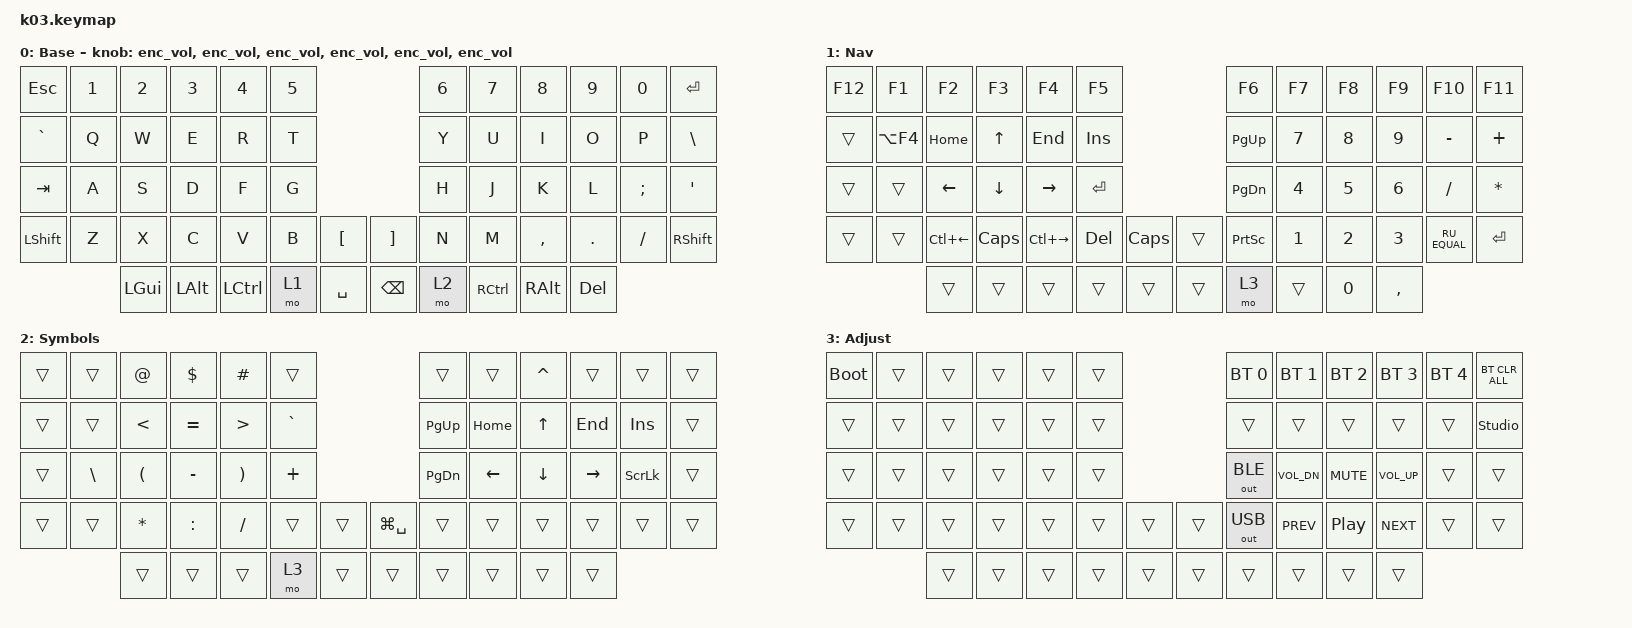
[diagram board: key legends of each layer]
#include "keys_ru.h"
#include <behaviors.dtsi>
#include <dt-bindings/zmk/bt.h>
#include <dt-bindings/zmk/keys.h>
#include <dt-bindings/zmk/outputs.h>

/ {
    behaviors {
        enc_vol: enc_vol {
            compatible = "zmk,behavior-sensor-rotate";
            label = "ENC_VOL";
            #sensor-binding-cells = <0>;
            bindings = <&kp C_VOL_UP>, <&kp C_VOL_DN>;
        };
    };

    keymap {
        compatible = "zmk,keymap";

        base {
            bindings = <
&kp ESC    &kp N1  &kp N2    &kp N3    &kp N4     &kp N5                              &kp N6  &kp N7     &kp N8     &kp N9      &kp N0    &kp RETURN
&kp GRAVE  &kp Q   &kp W     &kp E     &kp R      &kp T                               &kp Y   &kp U      &kp I      &kp O       &kp P     &kp BSLH
&kp TAB    &kp A   &kp S     &kp D     &kp F      &kp G                               &kp H   &kp J      &kp K      &kp L       &kp SEMI  &kp SQT
&kp LSHFT  &kp Z   &kp X     &kp C     &kp V      &kp B   &kp LBKT     &kp RBKT       &kp N   &kp M      &kp COMMA  &kp DOT     &kp FSLH  &kp RSHFT
                   &kp LGUI  &kp LALT  &kp LCTRL  &mo 1   &kp SPACE    &kp BACKSPACE  &mo 2   &kp RCTRL  &kp RALT   &kp DELETE
            >;

            display-name = "Base";
            sensor-bindings =
                <&enc_vol>,
                <&enc_vol>,
                <&enc_vol>,
                <&enc_vol>,
                <&enc_vol>,
                <&enc_vol>;
        };

        nav {
            bindings = <
&kp F12  &kp F1      &kp F2        &kp F3    &kp F4         &kp F5                       &kp F6           &kp F7  &kp F8  &kp F9     &kp F10       &kp F11
&trans   &kp LA(F4)  &kp HOME      &kp UP    &kp END        &kp INS                      &kp PG_UP        &kp N7  &kp N8  &kp N9     &kp MINUS     &kp PLUS
&trans   &trans      &kp LEFT      &kp DOWN  &kp RIGHT      &kp RET                      &kp PG_DN        &kp N4  &kp N5  &kp N6     &kp SLASH     &kp ASTRK
&trans   &trans      &kp LC(LEFT)  &kp CAPS  &kp LC(RIGHT)  &kp DEL  &kp CAPS    &trans  &kp PRINTSCREEN  &kp N1  &kp N2  &kp N3     &kp RU_EQUAL  &kp RETURN
                     &trans        &trans    &trans         &trans   &trans      &trans  &mo 3            &trans  &kp N0  &kp COMMA
            >;

            display-name = "Nav";
        };

        sym {
            bindings = <
&trans  &trans    &kp AT    &kp DLLR   &kp HASH  &trans                              &trans         &trans          &kp CARET       &trans           &trans          &trans
&trans  &trans    &kp LT    &kp EQUAL  &kp GT    &kp GRAVE                           &kp PG_UP      &kp HOME        &kp UP_ARROW    &kp END          &kp INS         &trans
&trans  &kp BSLH  &kp LPAR  &kp MINUS  &kp RPAR  &kp PLUS                            &kp PAGE_DOWN  &kp LEFT_ARROW  &kp DOWN_ARROW  &kp RIGHT_ARROW  &kp SCROLLLOCK  &trans
&trans  &trans    &kp STAR  &kp COLON  &kp FSLH  &trans     &trans    &kp LG(SPACE)  &trans         &trans          &trans          &trans           &trans          &trans
                  &trans    &trans     &trans    &mo 3      &trans    &trans         &trans         &trans          &trans          &trans
            >;

            display-name = "Symbols";
        };

        adj {
            bindings = <
&bootloader  &trans  &trans  &trans  &trans  &trans                    &bt BT_SEL 0  &bt BT_SEL 1  &bt BT_SEL 2      &bt BT_SEL 3  &bt BT_SEL 4  &bt BT_CLR_ALL
&trans       &trans  &trans  &trans  &trans  &trans                    &trans        &trans        &trans            &trans        &trans        &studio_unlock
&trans       &trans  &trans  &trans  &trans  &trans                    &out OUT_BLE  &kp C_VOL_DN  &kp C_MUTE        &kp C_VOL_UP  &trans        &trans
&trans       &trans  &trans  &trans  &trans  &trans  &trans    &trans  &out OUT_USB  &kp C_PREV    &kp C_PLAY_PAUSE  &kp C_NEXT    &trans        &trans
                     &trans  &trans  &trans  &trans  &trans    &trans  &trans        &trans        &trans            &trans
            >;

            display-name = "Adjust";
        };
    };
};
